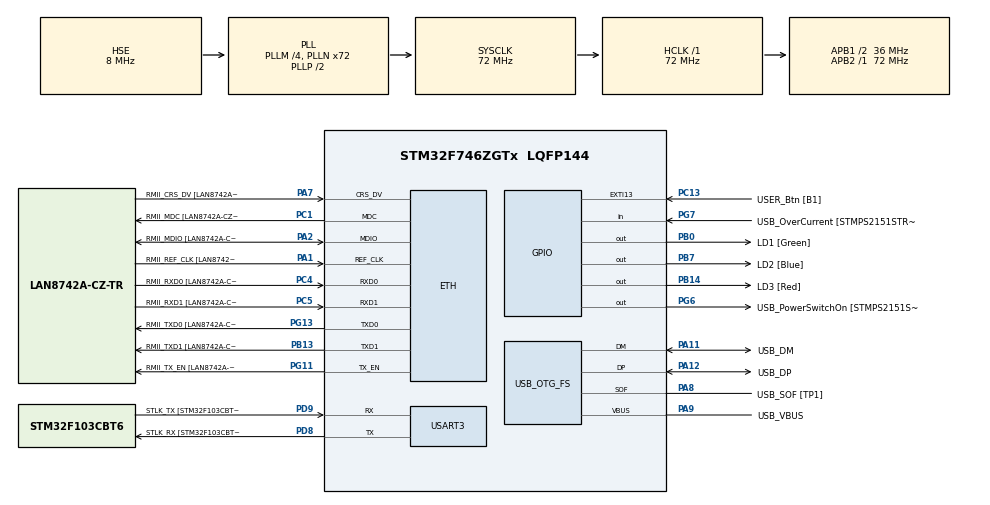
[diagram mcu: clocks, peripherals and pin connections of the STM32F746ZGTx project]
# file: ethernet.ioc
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ETH.MediaInterface=ETH_MEDIA_INTERFACE_RMII
ETH.PHY_Name=LAN8742A_PHY_ADDRESS
ETH.PHY_Value=0
ETH.PhyAddress=0
LWIP.GATEWAY_ADDRESS=192.168.000.001
LWIP.IP_ADDRESS=192.168.000.006
LWIP.LWIP_DHCP=0
LWIP.NETMASK_ADDRESS=255.255.255.000
LWIP.Version=v2.1.2_Cube
Mcu.Family=STM32F7
Mcu.Name=STM32F746ZGTx
Mcu.Package=LQFP144
NVIC.ETH_IRQn=true\:0\:0\:false\:false\:true\:true\:true
NVIC.EXTI15_10_IRQn=true\:1\:0\:true\:false\:true\:true\:true
NVIC.PriorityGroup=NVIC_PRIORITYGROUP_4
PA1.GPIO_Label=RMII_REF_CLK [LAN8742A-CZ-TR_REFCLK0]
PA1.Mode=RMII
PA1.Signal=ETH_REF_CLK
PA10.GPIO_Label=USB_ID
PA10.Signal=USB_OTG_FS_ID
PA11.GPIO_Label=USB_DM
PA11.Mode=Device_Only
PA11.Signal=USB_OTG_FS_DM
PA12.GPIO_Label=USB_DP
PA12.Mode=Device_Only
PA12.Signal=USB_OTG_FS_DP
PA13.GPIO_Label=TMS
PA13.Mode=Serial_Wire
PA13.Signal=SYS_JTMS-SWDIO
PA14.GPIO_Label=TCK
PA14.Mode=Serial_Wire
PA14.Signal=SYS_JTCK-SWCLK
PA2.GPIO_Label=RMII_MDIO [LAN8742A-CZ-TR_MDIO]
PA2.Mode=RMII
PA2.Signal=ETH_MDIO
PA7.GPIO_Label=RMII_CRS_DV [LAN8742A-CZ-TR_CRS_DV]
PA7.Mode=RMII
PA7.Signal=ETH_CRS_DV
PA8.GPIO_Label=USB_SOF [TP1]
PA8.Mode=Activate_SOF_FS
PA8.Signal=USB_OTG_FS_SOF
PA9.GPIO_Label=USB_VBUS
PA9.Mode=Activate_VBUS
PA9.Signal=USB_OTG_FS_VBUS
PB0.GPIO_Label=LD1 [Green]
PB0.Signal=GPIO_Output
PB13.GPIO_Label=RMII_TXD1 [LAN8742A-CZ-TR_TXD1]
PB13.Mode=RMII
PB13.Signal=ETH_TXD1
PB14.GPIO_Label=LD3 [Red]
PB14.Signal=GPIO_Output
PB3.GPIO_Label=SW0
PB3.Signal=SYS_JTDO-SWO
PB7.GPIO_Label=LD2 [Blue]
PB7.Signal=GPIO_Output
PC1.GPIO_Label=RMII_MDC [LAN8742A-CZ-TR_MDC]
PC1.Mode=RMII
PC1.Signal=ETH_MDC
PC13.GPIO_Label=USER_Btn [B1]
PC13.GPIO_ModeDefaultEXTI=GPIO_MODE_IT_RISING
PC13.GPIO_PuPd=GPIO_PULLDOWN
PC13.Signal=GPXTI13
PC14/OSC32_IN.Mode=LSE-External-Oscillator
PC14/OSC32_IN.Signal=RCC_OSC32_IN
PC15/OSC32_OUT.Mode=LSE-External-Oscillator
PC15/OSC32_OUT.Signal=RCC_OSC32_OUT
PC4.GPIO_Label=RMII_RXD0 [LAN8742A-CZ-TR_RXD0]
PC4.Mode=RMII
PC4.Signal=ETH_RXD0
PC5.GPIO_Label=RMII_RXD1 [LAN8742A-CZ-TR_RXD1]
PC5.Mode=RMII
PC5.Signal=ETH_RXD1
PD8.GPIO_Label=STLK_RX [STM32F103CBT6_PA3]
PD8.Mode=Asynchronous
PD8.Signal=USART3_TX
PD9.GPIO_Label=STLK_TX [STM32F103CBT6_PA2]
PD9.Mode=Asynchronous
PD9.Signal=USART3_RX
PG11.GPIO_Label=RMII_TX_EN [LAN8742A-CZ-TR_TXEN]
PG11.Mode=RMII
PG11.Signal=ETH_TX_EN
PG13.GPIO_Label=RMII_TXD0 [LAN8742A-CZ-TR_TXD0]
PG13.Mode=RMII
PG13.Signal=ETH_TXD0
PG6.GPIO_Label=USB_PowerSwitchOn [STMPS2151STR_EN]
PG6.Signal=GPIO_Output
PG7.GPIO_Label=USB_OverCurrent [STMPS2151STR_FAULT]
PG7.Signal=GPIO_Input
PH0/OSC_IN.GPIO_Label=MCO [STM32F103CBT6_PA8]
PH0/OSC_IN.Mode=HSE-External-Clock-Source
PH0/OSC_IN.Signal=RCC_OSC_IN
PH1/OSC_OUT.Mode=HSE-External-Clock-Source
PH1/OSC_OUT.Signal=RCC_OSC_OUT
ProjectManager.HeapSize=0x200
ProjectManager.StackSize=0x400
ProjectManager.TargetToolchain=STM32CubeIDE
RCC.48MHZClocksFreq_Value=24000000
RCC.AHBFreq_Value=72000000
RCC.APB1CLKDivider=RCC_HCLK_DIV2
RCC.APB1Freq_Value=36000000
RCC.APB1TimFreq_Value=72000000
RCC.APB2Freq_Value=72000000
RCC.APB2TimFreq_Value=72000000
RCC.CortexFreq_Value=72000000
RCC.HCLKFreq_Value=72000000
RCC.HSE_VALUE=8000000
RCC.HSI_VALUE=16000000
RCC.PLLM=4
RCC.PLLMUL=RCC_PLL_MUL9
RCC.PLLN=72
RCC.PLLQ=3
RCC.PRESCALERUSB=RCC_USBCLKSOURCE_PLL_DIV1_5
RCC.SYSCLKFreq_VALUE=72000000
RCC.SYSCLKSource=RCC_SYSCLKSOURCE_PLLCLK
RCC.SYSCLKSourceVirtual=RCC_SYSCLKSOURCE_PLLCLK
RCC.USBFreq_Value=48000000
RCC.VCOOutputFreq_Value=144000000
USART3.VirtualMode-Asynchronous=VM_ASYNC
USB_OTG_FS.VirtualMode=Device_Only
VP_LWIP_VS_Enabled.Mode=Enabled
board=NUCLEO-F746ZG

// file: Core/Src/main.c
/* USER CODE BEGIN Header */
/**
  ******************************************************************************
  * @file           : main.c
  * @brief          : Main program body
  ******************************************************************************
  * @attention
  *
  * <h2><center>&copy; Copyright (c) 2020 STMicroelectronics.
  * All rights reserved.</center></h2>
  *
  * This software component is licensed by ST under BSD 3-Clause license,
  * the "License"; You may not use this file except in compliance with the
  * License. You may obtain a copy of the License at:
  *                        opensource.org/licenses/BSD-3-Clause
  *
  ******************************************************************************
  */
/* USER CODE END Header */

#include "main.h"
#include "lwip.h"

/* USER CODE BEGIN Includes */
#include "stm32_udp_server.h"
/* USER CODE END Includes */

UART_HandleTypeDef huart3;

PCD_HandleTypeDef hpcd_USB_OTG_FS;

/* USER CODE BEGIN PV */
uint8_t stat_init,stat_start,stat_send;;
volatile int a,b;
uint8_t send[100]="abcd";

uint8_t   buffer[UDP_RECEIVE_MSG_SIZE]={0};
UDP_RECEIVE_t  rx_check = UDP_REVEICE_BUF_EMPTY;
uint32_t    aliveNotify = 0;
/* USER CODE END PV */

void SystemClock_Config(void);
static void MX_GPIO_Init(void);
static void MX_USART3_UART_Init(void);
static void MX_USB_OTG_FS_PCD_Init(void);
/* USER CODE BEGIN PFP */

void HAL_GPIO_EXTI_Callback(uint16_t GPIO_Pin)
{

if(GPIO_Pin==GPIO_PIN_13)
	{

stat_send=serverUDPSendString(&send);

	}
}

/* USER CODE END PFP */

int main(void)
{

  /* MCU Configuration--------------------------------------------------------*/

  /* Reset of all peripherals, Initializes the Flash interface and the Systick. */
  HAL_Init();

  /* Configure the system clock */
  SystemClock_Config();

  /* Initialize all configured peripherals */
  MX_GPIO_Init();
  MX_USART3_UART_Init();
  MX_USB_OTG_FS_PCD_Init();
  //MX_LWIP_Init();
  /* USER CODE BEGIN 2 */

stat_init=serverUDPInit();
stat_start=serverUDPStart();

extern struct netif gnetif;
  /* USER CODE END 2 */

  /* Infinite loop */
  /* USER CODE BEGIN WHILE */
  while (1)
  {

	        rx_check = serverUDPWorks(buffer);
	        if(rx_check == UDP_RECEIVE_BUF_READY)
	        {
	           serverUDPSendString(buffer);

	        }

    /* USER CODE END WHILE */

  }
}

void SystemClock_Config(void)
{
  RCC_OscInitTypeDef RCC_OscInitStruct = {0};
  RCC_ClkInitTypeDef RCC_ClkInitStruct = {0};
  RCC_PeriphCLKInitTypeDef PeriphClkInitStruct = {0};

  /** Configure LSE Drive Capability
  */
  HAL_PWR_EnableBkUpAccess();
  /** Configure the main internal regulator output voltage
  */
  __HAL_RCC_PWR_CLK_ENABLE();
  __HAL_PWR_VOLTAGESCALING_CONFIG(PWR_REGULATOR_VOLTAGE_SCALE3);
  /** Initializes the CPU, AHB and APB busses clocks
  */
  RCC_OscInitStruct.OscillatorType = RCC_OSCILLATORTYPE_HSE;
  RCC_OscInitStruct.HSEState = RCC_HSE_BYPASS;
  RCC_OscInitStruct.PLL.PLLState = RCC_PLL_ON;
  RCC_OscInitStruct.PLL.PLLSource = RCC_PLLSOURCE_HSE;
  RCC_OscInitStruct.PLL.PLLM = 4;
  RCC_OscInitStruct.PLL.PLLN = 72;
  RCC_OscInitStruct.PLL.PLLP = RCC_PLLP_DIV2;
  RCC_OscInitStruct.PLL.PLLQ = 3;
  if (HAL_RCC_OscConfig(&RCC_OscInitStruct) != HAL_OK)
  {
    Error_Handler();
  }
  /** Initializes the CPU, AHB and APB busses clocks
  */
  RCC_ClkInitStruct.ClockType = RCC_CLOCKTYPE_HCLK|RCC_CLOCKTYPE_SYSCLK
                              |RCC_CLOCKTYPE_PCLK1|RCC_CLOCKTYPE_PCLK2;
  RCC_ClkInitStruct.SYSCLKSource = RCC_SYSCLKSOURCE_PLLCLK;
  RCC_ClkInitStruct.AHBCLKDivider = RCC_SYSCLK_DIV1;
  RCC_ClkInitStruct.APB1CLKDivider = RCC_HCLK_DIV2;
  RCC_ClkInitStruct.APB2CLKDivider = RCC_HCLK_DIV1;

  if (HAL_RCC_ClockConfig(&RCC_ClkInitStruct, FLASH_LATENCY_2) != HAL_OK)
  {
    Error_Handler();
  }
  PeriphClkInitStruct.PeriphClockSelection = RCC_PERIPHCLK_USART3|RCC_PERIPHCLK_CLK48;
  PeriphClkInitStruct.Usart3ClockSelection = RCC_USART3CLKSOURCE_PCLK1;
  PeriphClkInitStruct.Clk48ClockSelection = RCC_CLK48SOURCE_PLL;
  if (HAL_RCCEx_PeriphCLKConfig(&PeriphClkInitStruct) != HAL_OK)
  {
    Error_Handler();
  }
}

static void MX_USART3_UART_Init(void)
{

  huart3.Instance = USART3;
  huart3.Init.BaudRate = 115200;
  huart3.Init.WordLength = UART_WORDLENGTH_8B;
  huart3.Init.StopBits = UART_STOPBITS_1;
  huart3.Init.Parity = UART_PARITY_NONE;
  huart3.Init.Mode = UART_MODE_TX_RX;
  huart3.Init.HwFlowCtl = UART_HWCONTROL_NONE;
  huart3.Init.OverSampling = UART_OVERSAMPLING_16;
  huart3.Init.OneBitSampling = UART_ONE_BIT_SAMPLE_DISABLE;
  huart3.AdvancedInit.AdvFeatureInit = UART_ADVFEATURE_NO_INIT;
  if (HAL_UART_Init(&huart3) != HAL_OK)
  {
    Error_Handler();
  }

}

static void MX_USB_OTG_FS_PCD_Init(void)
{

  hpcd_USB_OTG_FS.Instance = USB_OTG_FS;
  hpcd_USB_OTG_FS.Init.dev_endpoints = 6;
  hpcd_USB_OTG_FS.Init.speed = PCD_SPEED_FULL;
  hpcd_USB_OTG_FS.Init.dma_enable = DISABLE;
  hpcd_USB_OTG_FS.Init.phy_itface = PCD_PHY_EMBEDDED;
  hpcd_USB_OTG_FS.Init.Sof_enable = ENABLE;
  hpcd_USB_OTG_FS.Init.low_power_enable = DISABLE;
  hpcd_USB_OTG_FS.Init.lpm_enable = DISABLE;
  hpcd_USB_OTG_FS.Init.vbus_sensing_enable = ENABLE;
  hpcd_USB_OTG_FS.Init.use_dedicated_ep1 = DISABLE;
  if (HAL_PCD_Init(&hpcd_USB_OTG_FS) != HAL_OK)
  {
    Error_Handler();
  }

}

static void MX_GPIO_Init(void)
{
  GPIO_InitTypeDef GPIO_InitStruct = {0};

  /* GPIO Ports Clock Enable */
  __HAL_RCC_GPIOC_CLK_ENABLE();
  __HAL_RCC_GPIOH_CLK_ENABLE();
  __HAL_RCC_GPIOA_CLK_ENABLE();
  __HAL_RCC_GPIOB_CLK_ENABLE();
  __HAL_RCC_GPIOD_CLK_ENABLE();
  __HAL_RCC_GPIOG_CLK_ENABLE();

  /*Configure GPIO pin Output Level */
  HAL_GPIO_WritePin(GPIOB, LD1_Pin|LD3_Pin|LD2_Pin, GPIO_PIN_RESET);

  /*Configure GPIO pin Output Level */
  HAL_GPIO_WritePin(USB_PowerSwitchOn_GPIO_Port, USB_PowerSwitchOn_Pin, GPIO_PIN_RESET);

  /*Configure GPIO pin : USER_Btn_Pin */
  GPIO_InitStruct.Pin = USER_Btn_Pin;
  GPIO_InitStruct.Mode = GPIO_MODE_IT_RISING;
  GPIO_InitStruct.Pull = GPIO_PULLDOWN;
  HAL_GPIO_Init(USER_Btn_GPIO_Port, &GPIO_InitStruct);

  /*Configure GPIO pins : LD1_Pin LD3_Pin LD2_Pin */
  GPIO_InitStruct.Pin = LD1_Pin|LD3_Pin|LD2_Pin;
  GPIO_InitStruct.Mode = GPIO_MODE_OUTPUT_PP;
  GPIO_InitStruct.Pull = GPIO_NOPULL;
  GPIO_InitStruct.Speed = GPIO_SPEED_FREQ_LOW;
  HAL_GPIO_Init(GPIOB, &GPIO_InitStruct);

  /*Configure GPIO pin : USB_PowerSwitchOn_Pin */
  GPIO_InitStruct.Pin = USB_PowerSwitchOn_Pin;
  GPIO_InitStruct.Mode = GPIO_MODE_OUTPUT_PP;
  GPIO_InitStruct.Pull = GPIO_NOPULL;
  GPIO_InitStruct.Speed = GPIO_SPEED_FREQ_LOW;
  HAL_GPIO_Init(USB_PowerSwitchOn_GPIO_Port, &GPIO_InitStruct);

  /*Configure GPIO pin : USB_OverCurrent_Pin */
  GPIO_InitStruct.Pin = USB_OverCurrent_Pin;
  GPIO_InitStruct.Mode = GPIO_MODE_INPUT;
  GPIO_InitStruct.Pull = GPIO_NOPULL;
  HAL_GPIO_Init(USB_OverCurrent_GPIO_Port, &GPIO_InitStruct);

  /* EXTI interrupt init*/
  HAL_NVIC_SetPriority(EXTI15_10_IRQn, 1, 0);
  HAL_NVIC_EnableIRQ(EXTI15_10_IRQn);

}

void Error_Handler(void)
{
}

/************************ (C) COPYRIGHT STMicroelectronics *****END OF FILE****/
